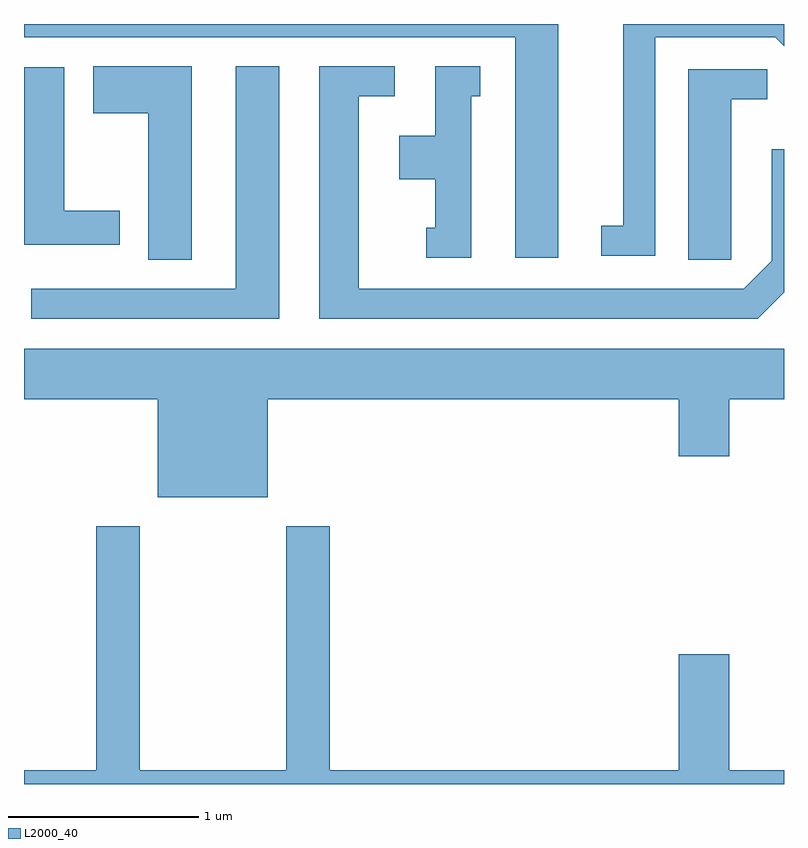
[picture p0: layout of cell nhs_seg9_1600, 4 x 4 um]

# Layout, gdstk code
import gdstk
lib = gdstk.Library(unit=1e-6, precision=1e-09)
def P(c, l, *ps):  # polygons
    for p in ps: c.add(gdstk.Polygon(p, *l))
L2000_40 = (2000, 40)

nhs_seg9_1600 = lib.new_cell('nhs_seg9_1600')
P(nhs_seg9_1600, L2000_40, [(234.934,2020.361),(235.564,2020.361),(235.611,2020.314),(235.611,2020.432),(234.766,2020.432),(234.766,2019.369),(234.648,2019.369),(234.648,2019.211),(234.934,2019.211)],
  [(234.424,2020.432),(231.611,2020.432),(231.611,2020.361),(234.196,2020.361),(234.196,2019.201),(234.424,2019.201)],
  [(232.494,2020.209),(231.976,2020.209),(231.976,2019.961),(232.266,2019.961),(232.266,2019.191),(232.494,2019.191)],
  [(232.954,2020.209),(232.726,2020.209),(232.726,2019.039),(231.648,2019.039),(231.648,2018.881),(232.954,2018.881)],
  [(233.964,2020.051),(234.013,2020.051),(234.013,2020.209),(233.776,2020.209),(233.776,2019.844),(233.586,2019.844),(233.586,2019.616),(233.776,2019.616),(233.776,2019.359),(233.728,2019.359),(233.728,2019.201),(233.964,2019.201)],
  [(235.611,2019.02),(235.611,2019.773),(235.546,2019.773),(235.546,2019.187),(235.399,2019.039),(233.374,2019.039),(233.374,2020.051),(233.563,2020.051),(233.563,2020.209),(233.166,2020.209),(233.166,2018.881),(235.472,2018.881)],
  [(232.114,2019.449),(231.824,2019.449),(231.824,2020.204),(231.611,2020.204),(231.611,2019.271),(232.114,2019.271)],
  [(235.334,2020.036),(235.523,2020.036),(235.523,2020.194),(235.106,2020.194),(235.106,2019.191),(235.334,2019.191)],
  [(232.894,2018.456),(235.056,2018.456),(235.056,2018.156),(235.324,2018.156),(235.324,2018.456),(235.611,2018.456),(235.611,2018.724),(231.611,2018.724),(231.611,2018.456),(232.316,2018.456),(232.316,2017.941),(232.894,2017.941)],
  [(235.611,2016.504),(235.324,2016.504),(235.324,2017.114),(235.056,2017.114),(235.056,2016.504),(233.219,2016.504),(233.219,2017.789),(232.991,2017.789),(232.991,2016.504),(232.219,2016.504),(232.219,2017.789),(231.991,2017.789),(231.991,2016.504),(231.611,2016.504),(231.611,2016.432),(235.611,2016.432)])

lib.write_gds('nhs_seg9_1600.gds')
